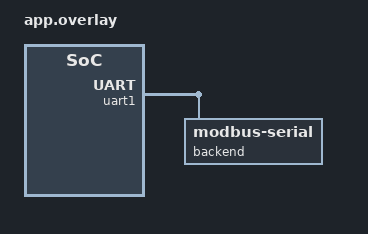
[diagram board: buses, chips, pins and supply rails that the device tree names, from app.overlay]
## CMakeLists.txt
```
cmake_minimum_required(VERSION 3.20)
find_package(Zephyr REQUIRED HINTS $ENV{ZEPHYR_BASE})
project(vel_gateway C)
set(GW_PORT 15020 CACHE STRING "Loopback TCP port")
target_sources(app PRIVATE src/main.c)
target_compile_definitions(app PRIVATE GW_PORT=${GW_PORT})
target_compile_options(app PRIVATE -Wall -Wextra -Werror)

set(GW_RUNTIME_MS 300000 CACHE STRING "Bounded runtime in milliseconds")
target_compile_definitions(app PRIVATE GW_RUNTIME_MS=${GW_RUNTIME_MS})
```

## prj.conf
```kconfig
CONFIG_NETWORKING=y
CONFIG_NET_IPV4=y
CONFIG_NET_IPV6=n
CONFIG_NET_SOCKETS=y
CONFIG_NET_SOCKETS_OFFLOAD=y
CONFIG_NET_NATIVE_OFFLOADED_SOCKETS=y
CONFIG_NET_MAX_CONTEXTS=8
CONFIG_ZVFS_OPEN_MAX=32
CONFIG_SERIAL=y
# Native PTY async TX bypasses IRQ emulation; 1 ms ticks preserve the RTU deadline margin.
CONFIG_UART_ASYNC_API=y
CONFIG_MODBUS_SERIAL_ASYNC_API=y
CONFIG_UART_USE_RUNTIME_CONFIGURE=n
CONFIG_UART_CONSOLE=n
CONFIG_POSIX_ARCH_CONSOLE=y
CONFIG_MODBUS=y
CONFIG_MODBUS_ROLE_CLIENT=y
CONFIG_MODBUS_RAW_ADU=y
CONFIG_MODBUS_NUMOF_RAW_ADU=1
CONFIG_MODBUS_FP_EXTENSIONS=n
CONFIG_MAIN_STACK_SIZE=8192
CONFIG_SYSTEM_WORKQUEUE_STACK_SIZE=4096
CONFIG_THREAD_NAME=y
CONFIG_THREAD_MONITOR=y
CONFIG_THREAD_STACK_INFO=y
CONFIG_INIT_STACKS=y
CONFIG_ASSERT=y
CONFIG_ETH_NATIVE_TAP=n
CONFIG_NET_DRIVERS=y
CONFIG_ZVFS_POLL_MAX=8
CONFIG_HEAP_MEM_POOL_SIZE=32768

CONFIG_SYS_CLOCK_TICKS_PER_SEC=1000
```

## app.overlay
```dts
&uart1 { status = "okay"; backend: modbus { compatible = "zephyr,modbus-serial"; status = "okay"; }; };
```

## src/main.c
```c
/* Stream/lifecycle adaptation of Zephyr samples/subsys/modbus/tcp_gateway.
 * Official public ADU helpers and RTU backend remain the only protocol backend. */
#include <zephyr/kernel.h>
#include <zephyr/net/socket.h>
#include <zephyr/modbus/modbus.h>
#include <zephyr/sys/byteorder.h>
#include <zephyr/sys/fdtable.h>
#include <string.h>
#include <errno.h>
#include <zephyr/drivers/uart.h>
#ifndef GW_RUNTIME_MS
#define GW_RUNTIME_MS 300000
#endif
#define CLIENTS 4
#define QUEUE 16
#define RTU_RESPONSE_TIMEOUT_US 500000
#define RTU_MAX_RESPONSE_AGE_MS 1000
#define RTU_RECOVERY_MARGIN_MS 250
#define CLIENT_FRAME_TIMEOUT_MS 1000
#define CLIENT_IDLE_TIMEOUT_MS 30000
struct client {int fd;uint32_t generation;size_t used;uint8_t input[1024];int64_t last,frame_started;};
static struct client clients[CLIENTS];
static atomic_t live_generation[CLIENTS];
struct job {unsigned slot;uint32_t generation;struct modbus_adu adu;int64_t received,start,end;int rc;};
K_MSGQ_DEFINE(requests,sizeof(struct job),QUEUE,8);
K_MSGQ_DEFINE(completed,sizeof(struct job),QUEUE+1,8);
static int backend;
static int64_t recover_after;
static uint32_t received_count,sent_count,rejected,exceptions;
static atomic_t timeouts,stale,active,max_active;

static int backend_init(void)
{
    struct modbus_iface_param param = {
        .mode = MODBUS_MODE_RTU,
        .rx_timeout = RTU_RESPONSE_TIMEOUT_US,
        .serial = { .baud = 115200, .parity = UART_CFG_PARITY_EVEN },
    };
    return modbus_init_client(backend, param);
}

/* RTU has no transaction ID. Even after an early error, do not start another
 * transaction inside the previous request's declared response window. */
static int recover_backend(void)
{
    if (!recover_after) {
        return 0;
    }
    printk("RTU_ISOLATED max_response_age_ms=%d\n", RTU_MAX_RESPONSE_AGE_MS);
    while (k_uptime_get() < recover_after) {
        k_msleep(10);
    }
    (void)modbus_disable(backend);
    const struct device *uart = DEVICE_DT_GET(DT_NODELABEL(uart1));
    unsigned char byte;
    unsigned int drained = 0;
    while (drained < 4096 && uart_poll_in(uart, &byte) == 0) {
        drained++;
    }
    if (drained == 4096 || backend_init() != 0) {
        recover_after = k_uptime_get() + RTU_MAX_RESPONSE_AGE_MS + RTU_RECOVERY_MARGIN_MS;
        return -EIO;
    }
    recover_after = 0;
    printk("RTU_RESYNCHRONIZED drained=%u\n", drained);
    return 0;
}
static void exception(struct modbus_adu*a,uint8_t code){a->fc|=128;a->data[0]=code;a->length=1;}
static void worker(void*a,void*b,void*c){(void)a;(void)b;(void)c;struct job j;
 while(k_uptime_get()<GW_RUNTIME_MS){if(k_msgq_get(&requests,&j,K_MSEC(50)))continue;
  if(atomic_get(&live_generation[j.slot])!=(atomic_val_t)j.generation){atomic_inc(&stale);continue;}
  if (recover_backend()) {
   exception(&j.adu,11);j.rc=-EIO;j.start=j.end=k_uptime_get();
   if(k_msgq_put(&completed,&j,K_MSEC(100)))printk("FATAL completion queue\n");
   continue;
  }
 if(atomic_get(&live_generation[j.slot])!=(atomic_val_t)j.generation){atomic_inc(&stale);continue;}
  j.start=k_uptime_get();int n=atomic_inc(&active)+1;atomic_val_t previous=atomic_get(&max_active);while(n>previous&&!atomic_cas(&max_active,previous,n))previous=atomic_get(&max_active);
  uint8_t unit=j.adu.unit_id,fc=j.adu.fc;
  j.rc=modbus_raw_backend_txn(backend,&j.adu);if(j.rc==0&&(j.adu.unit_id!=unit||(j.adu.fc!=fc&&j.adu.fc!=(fc|128)))){j.adu.unit_id=unit;j.adu.fc=fc;exception(&j.adu,11);j.rc=-EPROTO;}j.end=k_uptime_get();atomic_dec(&active);if(j.rc){recover_after=j.start+RTU_MAX_RESPONSE_AGE_MS+RTU_RECOVERY_MARGIN_MS;}if(j.rc==-ETIMEDOUT)atomic_inc(&timeouts);
  printk("RTU tid=%u slot=%u generation=%u received=%lld start=%lld end=%lld rc=%d issued=1 uncertain=%u\n",j.adu.trans_id,j.slot,j.generation,(long long)j.received,(long long)j.start,(long long)j.end,j.rc,j.rc?1:0);
  if(k_msgq_put(&completed,&j,K_MSEC(100)))printk("FATAL completion queue\n");
 }
}
K_THREAD_DEFINE(rtu_worker,8192,worker,NULL,NULL,NULL,5,0,0);
static void close_client(unsigned i){if(clients[i].fd>=0){atomic_set(&live_generation[i],0);zsock_close(clients[i].fd);clients[i].fd=-1;clients[i].generation++;clients[i].used=0;}}
static int send_response(unsigned i,struct modbus_adu*a){uint8_t wire[260];modbus_raw_put_header(a,wire);memcpy(wire+8,a->data,a->length);size_t n=8+a->length,offset=0;int64_t deadline=k_uptime_get()+100;
 while(offset<n&&k_uptime_get()<deadline){int rc=zsock_send(clients[i].fd,wire+offset,n-offset,ZSOCK_MSG_DONTWAIT);if(rc>0)offset+=(size_t)rc;else if(rc<0&&(errno==EAGAIN||errno==EWOULDBLOCK))k_msleep(1);else break;}
 if(offset!=n){close_client(i);return -EIO;}sent_count++;if(a->fc&128U)exceptions++;printk("TCP_SENT tid=%u slot=%u complete=%lld\n",a->trans_id,i,(long long)k_uptime_get());return 0;}
static void parse(unsigned i){struct client*c=&clients[i];
 while(c->fd>=0&&c->used>=7){unsigned length=sys_get_be16(c->input+4);if(sys_get_be16(c->input+2)!=0||length<2||length>254){printk("MBAP_REJECT slot=%u\n",i);close_client(i);return;}size_t n=6+length;if(c->used<n)return;
  struct job j={.slot=i,.generation=c->generation,.received=k_uptime_get()};modbus_raw_get_header(&j.adu,c->input);if(j.adu.length>sizeof(j.adu.data)){close_client(i);return;}memcpy(j.adu.data,c->input+8,j.adu.length);memmove(c->input,c->input+n,c->used-n);c->used-=n;c->frame_started=c->used?k_uptime_get():0;received_count++;
  printk("TCP_RECEIVED tid=%u slot=%u generation=%u received=%lld queued=%u\n",j.adu.trans_id,i,c->generation,(long long)j.received,k_msgq_num_used_get(&requests));
  if(j.adu.unit_id!=1){exception(&j.adu,10);(void)send_response(i,&j.adu);}
  else if(k_msgq_put(&requests,&j,K_NO_WAIT)){rejected++;exception(&j.adu,6);(void)send_response(i,&j.adu);}
 }
}
static unsigned thread_count;
static void count_thread(const struct k_thread*t,void*a){(void)a;thread_count++;printk("GW_THREAD name=%s configured=%u\n",k_thread_name_get((k_tid_t)t),(unsigned)t->stack_info.size);}
int main(void){
 for(unsigned i=0;i<CLIENTS;i++)clients[i].fd=-1;
 backend=modbus_iface_get_by_name(DEVICE_DT_NAME(DT_NODELABEL(backend)));if(backend_init()){printk("INIT_FAIL\n");return 1;}
 int serv=zsock_socket(AF_INET,SOCK_STREAM,IPPROTO_TCP);struct sockaddr_in a={.sin_family=AF_INET,.sin_port=htons(GW_PORT),.sin_addr={.s_addr=htonl(0x7f000001)}};int yes=1;(void)zsock_setsockopt(serv,SOL_SOCKET,SO_REUSEADDR,&yes,sizeof yes);
 if(serv<0||zsock_bind(serv,(struct sockaddr*)&a,sizeof a)||zsock_listen(serv,4)){printk("NET_FAIL errno=%d\n",errno);return 2;}
 (void)zsock_fcntl(serv,ZVFS_F_SETFL,ZVFS_O_NONBLOCK);printk("TCP_READY port=%d rtu=%d clients=4 queue=16 timeout_us=500000\n",GW_PORT,backend);
 int64_t report=1000;
 while(k_uptime_get()<GW_RUNTIME_MS){
  struct job j;while(k_msgq_get(&completed,&j,K_NO_WAIT)==0){if(clients[j.slot].fd>=0&&clients[j.slot].generation==j.generation)(void)send_response(j.slot,&j.adu);else atomic_inc(&stale);}
  struct zsock_pollfd fds[CLIENTS+1]={{.fd=serv,.events=ZSOCK_POLLIN}};for(unsigned i=0;i<CLIENTS;i++){fds[i+1].fd=clients[i].fd;fds[i+1].events=ZSOCK_POLLIN;}
  int rc=zsock_poll(fds,CLIENTS+1,5);if(rc<0){printk("POLL_FAIL errno=%d\n",errno);break;}
  for(unsigned i=0;i<CLIENTS;i++){struct client*c=&clients[i];if(c->fd<0)continue;
   if(fds[i+1].revents&(ZSOCK_POLLERR|ZSOCK_POLLHUP|ZSOCK_POLLNVAL)){close_client(i);continue;}
   if(fds[i+1].revents&ZSOCK_POLLIN){int n=zsock_recv(c->fd,c->input+c->used,sizeof(c->input)-c->used,ZSOCK_MSG_DONTWAIT);if(n<=0){if(n==0||(errno!=EAGAIN&&errno!=EWOULDBLOCK))close_client(i);continue;}c->last=k_uptime_get();if(c->used==0)c->frame_started=c->last;c->used+=(size_t)n;parse(i);if(c->used==sizeof(c->input))close_client(i);}
   if(c->fd>=0&&(k_uptime_get()-c->last>CLIENT_IDLE_TIMEOUT_MS||(c->used&&k_uptime_get()-c->frame_started>CLIENT_FRAME_TIMEOUT_MS)))close_client(i);
  }
  /* Retire descriptors signaled by this poll before allocating a slot.
   * A FIN and its replacement connection can arrive in the same poll. */
  if(fds[0].revents&ZSOCK_POLLIN){int fd=zsock_accept(serv,NULL,NULL);unsigned i;for(i=0;i<CLIENTS;i++)if(clients[i].fd<0)break;if(fd>=0){if(i==CLIENTS)zsock_close(fd);else{clients[i].fd=fd;clients[i].generation++;atomic_set(&live_generation[i],clients[i].generation);clients[i].used=0;clients[i].last=k_uptime_get();(void)zsock_fcntl(fd,ZVFS_F_SETFL,ZVFS_O_NONBLOCK);}}}
  if(k_uptime_get()>=report){thread_count=0;k_thread_foreach(count_thread,NULL);printk("GW_THREAD_COUNT %u\n",thread_count);unsigned connections=0;for(unsigned i=0;i<CLIENTS;i++)if(clients[i].fd>=0)connections++;printk("GW_STATS received=%u sent=%u timeouts=%u rejected=%u stale=%u active=%u max_active=%u queued=%u completed=%u connections=%u exceptions=%u\n",received_count,sent_count,(unsigned)atomic_get(&timeouts),rejected,(unsigned)atomic_get(&stale),(unsigned)atomic_get(&active),(unsigned)atomic_get(&max_active),k_msgq_num_used_get(&requests),k_msgq_num_used_get(&completed),connections,exceptions);report=k_uptime_get()+1000;}
  k_msleep(1);
 }
 for(unsigned i=0;i<CLIENTS;i++){close_client(i);}
 zsock_close(serv);return 0;
}
```
